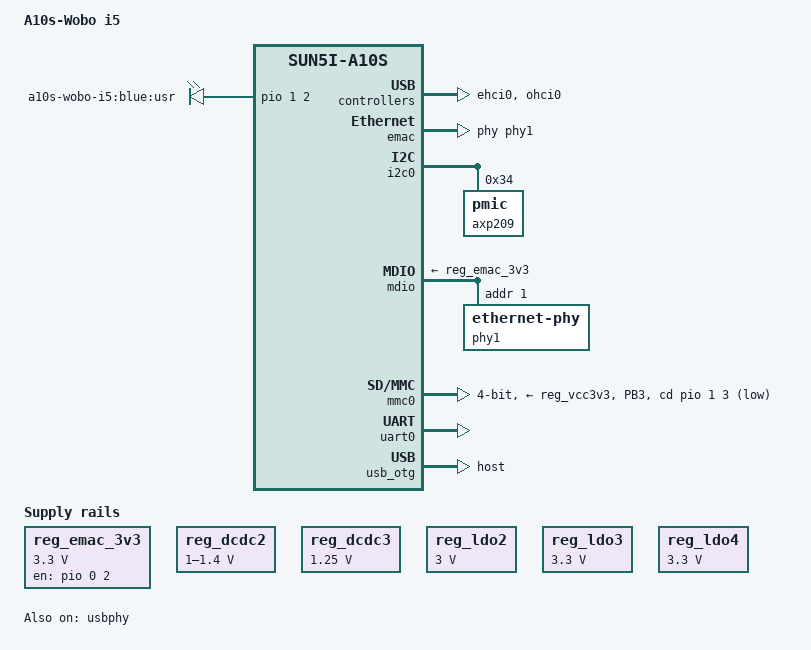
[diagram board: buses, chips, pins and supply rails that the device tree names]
/*
 * Copyright 2015 Jelle van der Waa <jelle@vdwaa.nl>
 *
 * This file is dual-licensed: you can use it either under the terms
 * of the GPL or the X11 license, at your option. Note that this dual
 * licensing only applies to this file, and not this project as a
 * whole.
 *
 *  a) This file is free software; you can redistribute it and/or
 *     modify it under the terms of the GNU General Public License as
 *     published by the Free Software Foundation; either version 2 of the
 *     License, or (at your option) any later version.
 *
 *     This file is distributed in the hope that it will be useful,
 *     but WITHOUT ANY WARRANTY; without even the implied warranty of
 *     MERCHANTABILITY or FITNESS FOR A PARTICULAR PURPOSE.  See the
 *     GNU General Public License for more details.
 *
 * Or, alternatively,
 *
 *  b) Permission is hereby granted, free of charge, to any person
 *     obtaining a copy of this software and associated documentation
 *     files (the "Software"), to deal in the Software without
 *     restriction, including without limitation the rights to use,
 *     copy, modify, merge, publish, distribute, sublicense, and/or
 *     sell copies of the Software, and to permit persons to whom the
 *     Software is furnished to do so, subject to the following
 *     conditions:
 *
 *     The above copyright notice and this permission notice shall be
 *     included in all copies or substantial portions of the Software.
 *
 *     THE SOFTWARE IS PROVIDED "AS IS", WITHOUT WARRANTY OF ANY KIND,
 *     EXPRESS OR IMPLIED, INCLUDING BUT NOT LIMITED TO THE WARRANTIES
 *     OF MERCHANTABILITY, FITNESS FOR A PARTICULAR PURPOSE AND
 *     NONINFRINGEMENT. IN NO EVENT SHALL THE AUTHORS OR COPYRIGHT
 *     HOLDERS BE LIABLE FOR ANY CLAIM, DAMAGES OR OTHER LIABILITY,
 *     WHETHER IN AN ACTION OF CONTRACT, TORT OR OTHERWISE, ARISING
 *     FROM, OUT OF OR IN CONNECTION WITH THE SOFTWARE OR THE USE OR
 *     OTHER DEALINGS IN THE SOFTWARE.
 */

/dts-v1/;
#include "sun5i-a10s.dtsi"
#include "sunxi-common-regulators.dtsi"

#include <dt-bindings/gpio/gpio.h>
#include <dt-bindings/interrupt-controller/irq.h>
#include <dt-bindings/pinctrl/sun4i-a10.h>

/ {
	model = "A10s-Wobo i5";
	compatible = "wobo,a10s-wobo-i5", "allwinner,sun5i-a10s";

	aliases {
		serial0 = &uart0;
	};

	chosen {
		stdout-path = "serial0:115200n8";
	};

	leds {
		compatible = "gpio-leds";
		pinctrl-names = "default";
		pinctrl-0 = <&led_pins_wobo_i5>;

		blue {
			label = "a10s-wobo-i5:blue:usr";
			gpios = <&pio 1 2 GPIO_ACTIVE_HIGH>;
			default-state = "on";
		};
	};

	reg_emac_3v3: emac-3v3 {
		compatible = "regulator-fixed";
		pinctrl-names = "default";
		pinctrl-0 = <&emac_power_pin_wobo>;
		regulator-name = "emac-3v3";
		regulator-min-microvolt = <3300000>;
		regulator-max-microvolt = <3300000>;
		startup-delay-us = <20000>;
		enable-active-high;
		gpio = <&pio 0 2 GPIO_ACTIVE_HIGH>;
	};
};

&cpu0 {
	cpu-supply = <&reg_dcdc2>;
};

&ehci0 {
	status = "okay";
};

&emac {
	pinctrl-names = "default";
	pinctrl-0 = <&emac_pins_b>;
	phy = <&phy1>;
	status = "okay";
};

&emac_sram {
	status = "okay";
};

&i2c0 {
	pinctrl-names = "default";
	pinctrl-0 = <&i2c0_pins_a>;
	status = "okay";

	axp209: pmic@34 {
		reg = <0x34>;
		interrupts = <0>;
	};
};

#include "axp209.dtsi"

&mdio {
	phy-supply = <&reg_emac_3v3>;
	status = "okay";

	phy1: ethernet-phy@1 {
		reg = <1>;
	};
};

&mmc0 {
	pinctrl-names = "default";
	pinctrl-0 = <&mmc0_pins_a>, <&mmc0_cd_pin_wobo_i5>;
	vmmc-supply = <&reg_vcc3v3>;
	bus-width = <4>;
	cd-gpios = <&pio 1 3 GPIO_ACTIVE_HIGH>; /* PB3 */
	cd-inverted;
	status = "okay";
};

&ohci0 {
	status = "okay";
};

&otg_sram {
	status = "okay";
};

&pio {
	led_pins_wobo_i5: led_pins@0 {
		pins = "PB2";
		function = "gpio_out";
	};

	mmc0_cd_pin_wobo_i5: mmc0_cd_pin@0 {
		pins = "PB3";
		function = "gpio_in";
		bias-pull-up;
	};

	emac_power_pin_wobo: emac_power_pin@0 {
		pins = "PA02";
		function = "gpio_out";
	};
};

&reg_dcdc2 {
	regulator-always-on;
	regulator-min-microvolt = <1000000>;
	regulator-max-microvolt = <1400000>;
	regulator-name = "vdd-cpu";
};

&reg_dcdc3 {
	regulator-always-on;
	regulator-min-microvolt = <1250000>;
	regulator-max-microvolt = <1250000>;
	regulator-name = "vdd-int-dll";
};

&reg_ldo1 {
	regulator-name = "vdd-rtc";
};

&reg_ldo2 {
	regulator-always-on;
	regulator-min-microvolt = <3000000>;
	regulator-max-microvolt = <3000000>;
	regulator-name = "avcc";
};

&reg_ldo3 {
	regulator-always-on;
	regulator-min-microvolt = <3300000>;
	regulator-max-microvolt = <3300000>;
	regulator-name = "vcc-wifi1";
};

&reg_ldo4 {
	regulator-always-on;
	regulator-min-microvolt = <3300000>;
	regulator-max-microvolt = <3300000>;
	regulator-name = "vcc-wifi2";
};

&reg_usb1_vbus {
	gpio = <&pio 6 12 GPIO_ACTIVE_HIGH>;
	status = "okay";
};

&uart0 {
	pinctrl-names = "default";
	pinctrl-0 = <&uart0_pins_a>;
	status = "okay";
};

&usb_otg {
	dr_mode = "host";
	status = "okay";
};

&usb1_vbus_pin_a {
	pins = "PG12";
};

&usbphy {
	usb1_vbus-supply = <&reg_usb1_vbus>;
	status = "okay";
};
